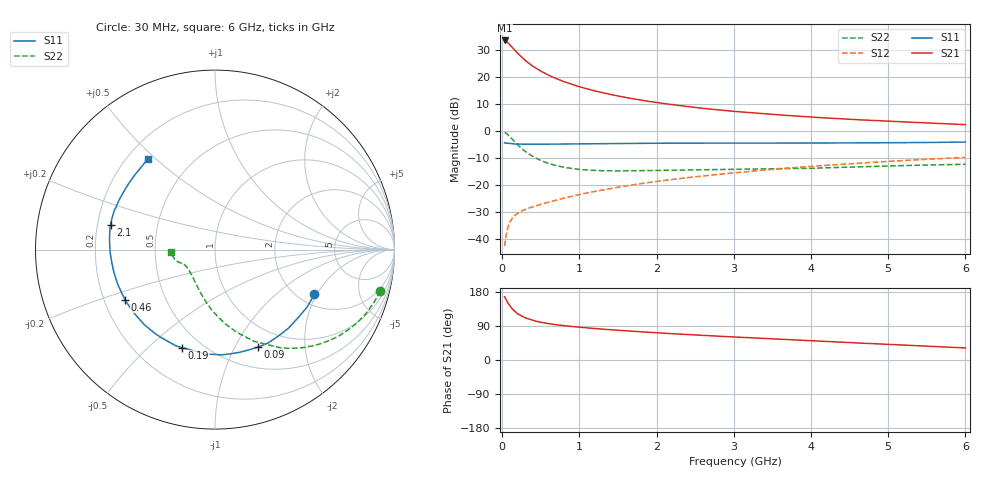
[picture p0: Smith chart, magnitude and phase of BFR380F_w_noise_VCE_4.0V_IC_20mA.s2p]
! Infineon Technologies  Discrete & RF Semiconductors
! BFR380F
! VCE =  4.0 V,  IC =  20 mA
! Common Emitter S-Parameters:  Nov 2015
# GHz  S  MA  R  50
!  f  S11  S21  S12  S22
! GHz  MAG  ANG  MAG  ANG  MAG  ANG  MAG  ANG
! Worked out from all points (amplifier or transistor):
!   206 points, 30 MHz to 6 GHz, reference 50 ohm
!   highest |S21| = 33.6 dB at 30 MHz (marker M1)
!   |S21| within 3 dB of that: start of sweep to 142.6 MHz
!   unconditionally stable (mu >= 1): 1.365 GHz to 4.984 GHz
!   at 200 MHz: K = 0.37, MSG = 29.6 dB, |S12| = -30.4 dB
!   at 1.56 GHz: K = 1.02, MAG = 15.8 dB, |S12| = -20.5 dB
!   at 6 GHz: K = 0.98, MSG = 6.1 dB, |S12| = -9.8 dB
!   lowest NFmin = 1.04 dB at 900 MHz
!   S11 on the Smith chart (normalised r, x): 30 MHz: 2.42, -1.91; 90 MHz: 0.74, -1.24; 190 MHz: 0.39, -0.64; 460 MHz: 0.29, -0.24; 2.1 GHz: 0.25, +0.11; 6 GHz: 0.28, +0.47
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0.03  0.6072 -24.2  47.87 166.9  0.0074 79.8  0.9491 -14.1
0.05  0.5985 -39.7  46.25 158.5  0.0117 74.9  0.9136 -23.0
0.07  0.5972 -53.9  43.71 151.4  0.0159 69.0  0.8656 -31.2
0.09  0.5938 -66.2  40.92 145.2  0.0193 65.0  0.8131 -38.6
0.115  0.587 -79.4  37.45 138.3  0.0227 60.5  0.7454 -46.7
0.14  0.5836 -91.1  34.21 132.5  0.0254 57.0  0.6828 -53.6
0.19  0.5758 -108.6  28.6 123.8  0.0295 52.9  0.5755 -64.4
0.2  0.5788 -112.0  27.57 121.8  0.0302 52.2  0.5567 -66.8
0.24  0.5746 -121.4  24.29 117.2  0.0326 50.7  0.4934 -73.2
0.3  0.5746 -132.9  20.29 111.0  0.0356 49.8  0.4186 -82.0
0.4  0.5726 -145.5  15.83 104.2  0.0399 50.5  0.3374 -92.9
0.46  0.5734 -150.9  13.97 101.3  0.0424 51.4  0.3042 -98.3
0.6  0.5752 -160.1  10.88 95.9  0.0485 54.0  0.2526 -108.9
0.7  0.5763 -164.8  9.386 93.1  0.0529 55.9  0.2297 -115.3
1.04  0.5814 -175.6  6.404 85.8  0.0689 60.5  0.1933 -131.5
1.4  0.5882 177.0  4.781 79.9  0.0867 63.3  0.184 -142.6
2.02  0.5972 167.9  3.36 71.7  0.1182 65.1  0.1871 -151.7
2.1  0.5977 166.9  3.243 70.7  0.1223 65.2  0.188 -152.5
3.1  0.6011 156.4  2.267 59.9  0.1745 64.3  0.1973 -157.7
4.1  0.603 146.1  1.789 49.7  0.2279 61.3  0.2072 -159.2
5.1  0.6107 136.6  1.507 40.4  0.2804 57.4  0.2285 -165.4
6  0.6286 126.6  1.321 31.8  0.3253 52.6  0.2436 -176.4
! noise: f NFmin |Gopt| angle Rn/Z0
0.45  1.07  0.2  173  0.08
0.9  1.04  0.26  171  0.07
1.8  1.27  0.36  -175  0.07
1.9  1.34  0.37  -176  0.07
2.4  1.43  0.39  -165  0.09
3.5  2.02  0.48  -153  0.13
